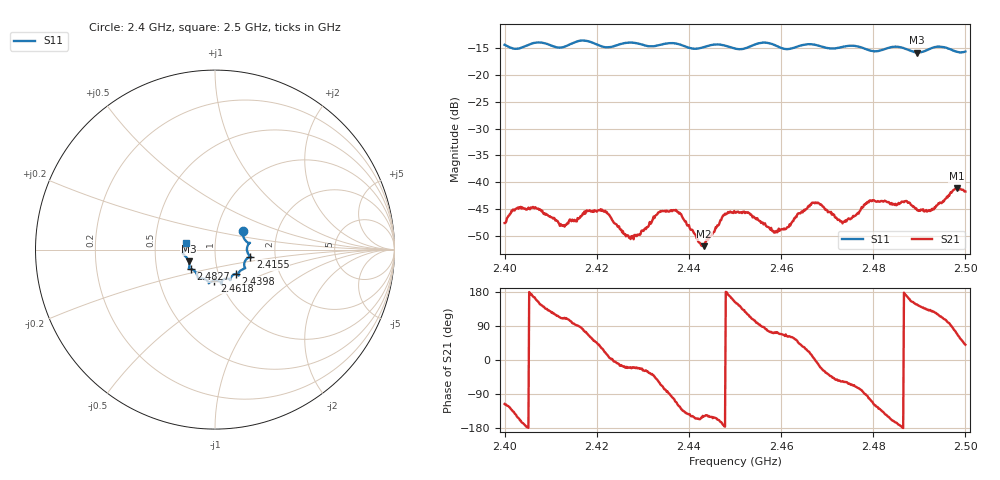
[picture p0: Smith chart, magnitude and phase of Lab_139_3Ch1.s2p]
# Hz S RI R 50
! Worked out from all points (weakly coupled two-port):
!   601 points, 2.4 GHz to 2.5 GHz, reference 50 ohm
!   highest |S21| = -41.09 dB at 2.4982 GHz (marker M1); lowest = -51.8 dB at 2.4433 GHz (marker M2)
!   lowest |S11| = -15.9 dB at 2.4895 GHz (marker M3), VSWR 1.38, Z = 37 - j5.01 ohm
!   |S11| at or under -10 dB: start of sweep to end of sweep
!   S12 and S22 are empty: the file has one direction only
!   S11 on the Smith chart (normalised r, x): 2.4 GHz: 1.33, +0.29; 2.4155 GHz: 1.49, -0.12; 2.4398 GHz: 1.21, -0.34; 2.4618 GHz: 0.94, -0.33; 2.4827 GHz: 0.75, -0.17; 2.5 GHz: 0.72, +0.06
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2.4e9  0.1563 0.1058  -0.00185 -0.00377  0 0  0 0
2.403333e9  0.1673 0.0533  -0.00541 -0.00205  0 0  0 0
2.4125e9  0.1787 -0.00707  -0.00139 0.0037  0 0  0 0
2.4155e9  0.1977 -0.0396  -0.000177 0.0044  0 0  0 0
2.416667e9  0.2024 -0.043  0.00043 0.00485  0 0  0 0
2.421667e9  0.1695 -0.0602  0.00501 0.00199  0 0  0 0
2.4275e9  0.1685 -0.1039  0.00295 -0.00118  0 0  0 0
2.433333e9  0.1299 -0.1342  0.00295 -0.00436  0 0  0 0
2.437167e9  0.1312 -0.1432  -0.00195 -0.00522  0 0  0 0
2.439833e9  0.1152 -0.1358  -0.0032 -0.00243  0 0  0 0
2.443333e9  0.0872 -0.1579  -0.00218 -0.00135  0 0  0 0
2.447667e9  0.0822 -0.1671  -0.00496 -0.000454  0 0  0 0
2.45e9  0.065 -0.1618  -0.00471 0.00244  0 0  0 0
2.458667e9  0.0332 -0.1844  0.00112 0.00331  0 0  0 0
2.461833e9  -0.00378 -0.1729  0.0019 0.00361  0 0  0 0
2.466667e9  -0.0349 -0.1877  0.00631 0.00138  0 0  0 0
2.473333e9  -0.0837 -0.16  0.00234 -0.00345  0 0  0 0
2.482667e9  -0.1349 -0.1087  -0.00543 -0.00394  0 0  0 0
2.483333e9  -0.1401 -0.1082  -0.00571 -0.00329  0 0  0 0
2.4895e9  -0.1458 -0.066  -0.00463 0.00304  0 0  0 0
2.498167e9  -0.1624 0.00716  0.00308 0.00826  0 0  0 0
2.5e9  -0.159 0.0384  0.00627 0.00533  0 0  0 0
